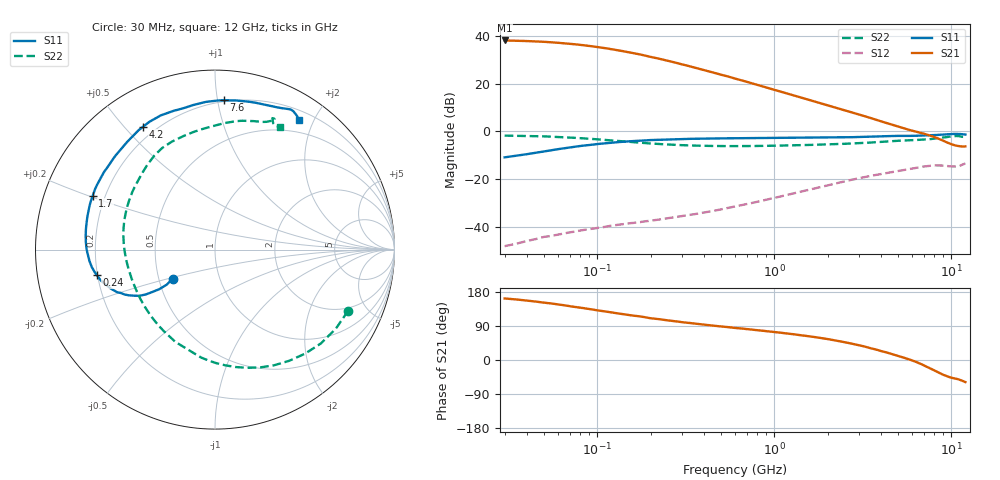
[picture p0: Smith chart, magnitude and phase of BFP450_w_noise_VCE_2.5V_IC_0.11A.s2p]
! (c) 2015  Infineon Technologies AG, Munich
! Infineon Technologies  Discrete & RF Semiconductors
! BFP450
! VCE =  2.5 V,  IC = 0.11 A
! Common Emitter S-Parameters:  Nov 2015
# GHz  S  MA  R  50
!  f  S11  S21  S12  S22
! GHz  MAG  ANG  MAG  ANG  MAG  ANG  MAG  ANG
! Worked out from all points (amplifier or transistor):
!   239 points, 30 MHz to 12 GHz, reference 50 ohm
!   highest |S21| = 38.2 dB at 30 MHz (marker M1)
!   |S21| within 3 dB of that: start of sweep to 105.8 MHz
!   unconditionally stable (mu >= 1): 856.2 MHz to end of sweep
!   at 300 MHz: K = 0.74, MSG = 31.9 dB, |S12| = -35.6 dB
!   at 1.88 GHz: K = 1.09, MAG = 15.5 dB, |S12| = -23.1 dB
!   at 12 GHz: K = 1.08, MAG = 1.8 dB, |S12| = -13.4 dB
!   lowest NFmin = 2.22 dB at 450 MHz
!   S11 on the Smith chart (normalised r, x): 30 MHz: 0.59, -0.21; 240 MHz: 0.20, -0.10; 1.7 GHz: 0.15, +0.21; 4.2 GHz: 0.15, +0.56; 7.6 GHz: 0.19, +1.04; 12 GHz: 0.32, +1.80
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0.03  0.2856 -145.5  81.27 162.4  0.0039 80.9  0.8165 -24.7
0.04  0.3325 -144.0  78.97 156.9  0.005 76.6  0.8046 -33.2
0.05  0.3799 -144.6  76.12 151.4  0.0061 71.5  0.7884 -41.5
0.06  0.424 -146.0  72.67 146.8  0.0068 67.9  0.7669 -49.1
0.07  0.4609 -147.1  69.19 142.0  0.0076 66.9  0.7451 -56.2
0.085  0.5055 -149.4  64.11 136.4  0.0086 63.2  0.7124 -65.9
0.105  0.5526 -152.8  57.77 129.7  0.0096 60.2  0.6734 -77.2
0.13  0.5941 -156.4  50.8 123.0  0.0109 57.9  0.6329 -89.3
0.15  0.6194 -159.4  46.05 118.6  0.0117 56.7  0.6065 -97.3
0.2  0.6588 -164.8  36.71 110.2  0.0134 55.8  0.5598 -113.2
0.24  0.6749 -168.0  31.61 105.7  0.0147 56.0  0.5358 -122.3
0.3  0.6933 -171.9  25.66 99.9  0.0166 57.0  0.5152 -133.4
0.36  0.7024 -174.8  21.61 95.8  0.0185 58.1  0.5035 -141.4
0.45  0.711 -178.4  17.28 90.7  0.0214 59.5  0.495 -150.5
0.6  0.7205 177.1  12.86 84.6  0.0264 61.2  0.4919 -160.8
1  0.7305 168.4  7.465 73.8  0.0402 61.5  0.5015 -176.9
1.64  0.744 157.3  4.387 61.5  0.0623 56.9  0.5226 167.3
1.7  0.745 156.3  4.217 60.4  0.0643 56.3  0.5248 166.0
4.2  0.7932 120.4  1.544 21.3  0.1315 27.5  0.6109 126.3
4.5  0.8003 117.2  1.42 17.2  0.1375 24.5  0.6232 122.9
7.6  0.8334 86.7  0.817 -22.3  0.1905 -8.8  0.6889 90.7
12  0.8612 57.0  0.485 -58.3  0.2128 -40.8  0.7705 62.0
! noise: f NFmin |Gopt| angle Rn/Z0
0.45  2.22  0.65  -171  0.07
0.9  2.28  0.68  -165  0.09
1.9  2.37  0.69  -149  0.17
2.4  2.45  0.69  -140  0.26
